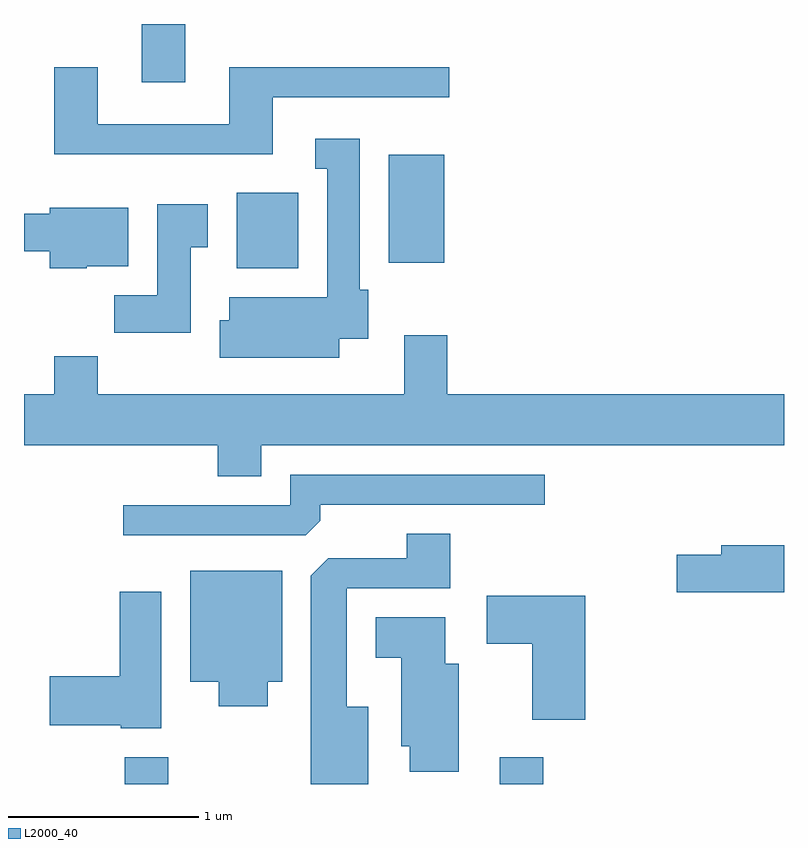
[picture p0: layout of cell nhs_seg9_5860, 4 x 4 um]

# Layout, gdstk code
import gdstk
lib = gdstk.Library(unit=1e-6, precision=1e-09)
def R(c, l, rs):  # rectangles x0, y0, x1, y1
    for r in rs: c.add(gdstk.rectangle(r[:2], r[2:], *l))
def P(c, l, *ps):  # polygons
    for p in ps: c.add(gdstk.Polygon(p, *l))
L2000_40 = (2000, 40)

nhs_seg9_5860 = lib.new_cell('nhs_seg9_5860')
R(nhs_seg9_5860, L2000_40, [(358.141,2034.432,358.369,2034.574), (360.116,2034.432,360.344,2034.574), (358.731,2037.146,359.054,2037.544), (359.531,2037.176,359.824,2037.744), (358.231,2038.126,358.459,2038.432)])
P(nhs_seg9_5860, L2000_40, [(358.919,2038.046),(359.848,2038.046),(359.848,2038.204),(358.691,2038.204),(358.691,2037.904),(357.999,2037.904),(357.999,2038.204),(357.771,2038.204),(357.771,2037.746),(358.919,2037.746)],
  [(359.269,2036.776),(359.424,2036.776),(359.424,2037.034),(359.379,2037.034),(359.379,2037.829),(359.143,2037.829),(359.143,2037.671),(359.206,2037.671),(359.206,2036.994),(358.691,2036.994),(358.691,2036.874),(358.641,2036.874),(358.641,2036.676),(359.269,2036.676)],
  [(358.489,2037.256),(358.579,2037.256),(358.579,2037.484),(358.311,2037.484),(358.311,2037.004),(358.086,2037.004),(358.086,2036.806),(358.489,2036.806)],
  [(357.94,2037.156),(358.159,2037.156),(358.159,2037.464),(357.746,2037.464),(357.746,2037.434),(357.611,2037.434),(357.611,2037.236),(357.746,2037.236),(357.746,2037.146),(357.94,2037.146)],
  [(358.859,2036.216),(361.611,2036.216),(361.611,2036.484),(359.839,2036.484),(359.839,2036.794),(359.611,2036.794),(359.611,2036.484),(357.999,2036.484),(357.999,2036.684),(357.771,2036.684),(357.771,2036.484),(357.611,2036.484),(357.611,2036.216),(358.631,2036.216),(358.631,2036.051),(358.859,2036.051)],
  [(359.169,2035.817),(359.169,2035.901),(360.353,2035.901),(360.353,2036.059),(359.011,2036.059),(359.011,2035.899),(358.133,2035.899),(358.133,2035.741),(359.094,2035.741)],
  [(359.424,2034.839),(359.309,2034.839),(359.309,2035.461),(359.854,2035.461),(359.854,2035.749),(359.626,2035.749),(359.626,2035.619),(359.212,2035.619),(359.121,2035.529),(359.121,2034.432),(359.424,2034.432)],
  [(361.611,2035.689),(361.281,2035.689),(361.281,2035.639),(361.046,2035.639),(361.046,2035.441),(361.611,2035.441)],
  [(358.894,2034.971),(358.969,2034.971),(358.969,2035.554),(358.486,2035.554),(358.486,2034.971),(358.636,2034.971),(358.636,2034.841),(358.894,2034.841)],
  [(358.334,2035.444),(358.116,2035.444),(358.116,2034.999),(357.746,2034.999),(357.746,2034.741),(358.12,2034.741),(358.12,2034.726),(358.334,2034.726)],
  [(360.564,2035.424),(360.046,2035.424),(360.046,2035.171),(360.286,2035.171),(360.286,2034.771),(360.564,2034.771)],
  [(359.899,2035.064),(359.829,2035.064),(359.829,2035.309),(359.461,2035.309),(359.461,2035.096),(359.596,2035.096),(359.596,2034.631),(359.641,2034.631),(359.641,2034.496),(359.899,2034.496)])

lib.write_gds('nhs_seg9_5860.gds')
